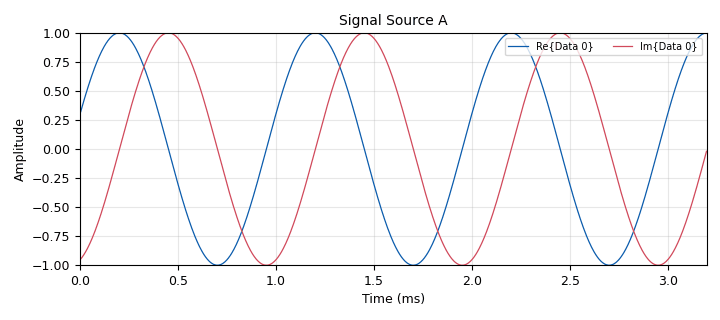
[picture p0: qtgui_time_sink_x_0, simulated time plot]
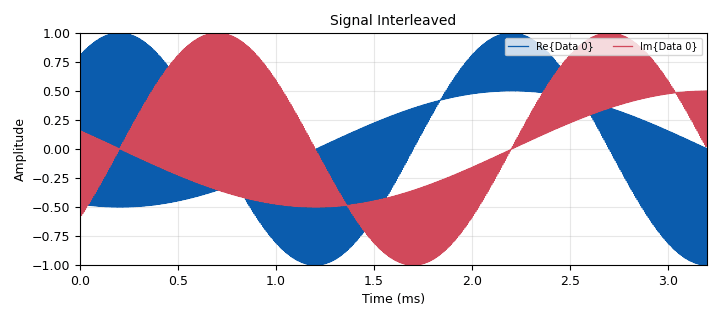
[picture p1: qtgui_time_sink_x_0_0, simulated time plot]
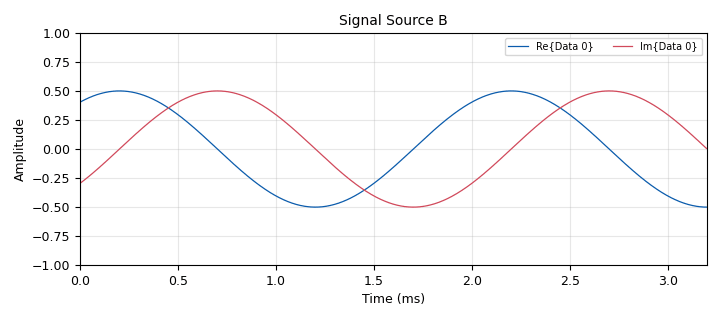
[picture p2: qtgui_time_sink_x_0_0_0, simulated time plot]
options:
  parameters:
    generate_options: qt_gui
    id: xdd
    output_language: python
    title: Not titled yet
  states: {}

blocks:
- name: samp_rate
  id: variable
  parameters:
    value: 3.2e5
  states: {}
- name: analog_sig_source_x_0
  id: analog_sig_source_x
  parameters:
    amp: '1'
    freq: '1000'
    offset: '0'
    phase: '0'
    samp_rate: samp_rate
    type: complex
    waveform: analog.GR_COS_WAVE
  states: {}
- name: analog_sig_source_x_1
  id: analog_sig_source_x
  parameters:
    amp: '.5'
    freq: .5e3
    offset: '0'
    phase: '0'
    samp_rate: samp_rate
    type: complex
    waveform: analog.GR_COS_WAVE
  states: {}
- name: blocks_streams_to_vector_0
  id: blocks_streams_to_vector
  parameters:
    comment: |-
      This blocks interleaves Signals A and B in such a way as below:
      A1, B1, A2, B2, A3, B3...
    type: complex
  states: {}
- name: blocks_vector_to_stream_0
  id: blocks_vector_to_stream
  parameters:
    type: complex
  states: {}
- name: qtgui_time_sink_x_0
  id: qtgui_time_sink_x
  parameters:
    name: '"Signal Source A"'
    size: '1024'
    srate: samp_rate
    type: complex
  states: {}
- name: qtgui_time_sink_x_0_0
  id: qtgui_time_sink_x
  parameters:
    ctrlpanel: 'True'
    name: '"Signal Interleaved"'
    size: '1024'
    srate: samp_rate
    type: complex
  states: {}
- name: qtgui_time_sink_x_0_0_0
  id: qtgui_time_sink_x
  parameters:
    name: '"Signal Source B"'
    size: '1024'
    srate: samp_rate
    type: complex
  states: {}

connections:
- [analog_sig_source_x_0, '0', blocks_streams_to_vector_0, '0']
- [analog_sig_source_x_0, '0', qtgui_time_sink_x_0, '0']
- [analog_sig_source_x_1, '0', blocks_streams_to_vector_0, '1']
- [analog_sig_source_x_1, '0', qtgui_time_sink_x_0_0_0, '0']
- [blocks_streams_to_vector_0, '0', blocks_vector_to_stream_0, '0']
- [blocks_vector_to_stream_0, '0', qtgui_time_sink_x_0_0, '0']

metadata:
  file_format: 1
  grc_version: 3.10.11.0
